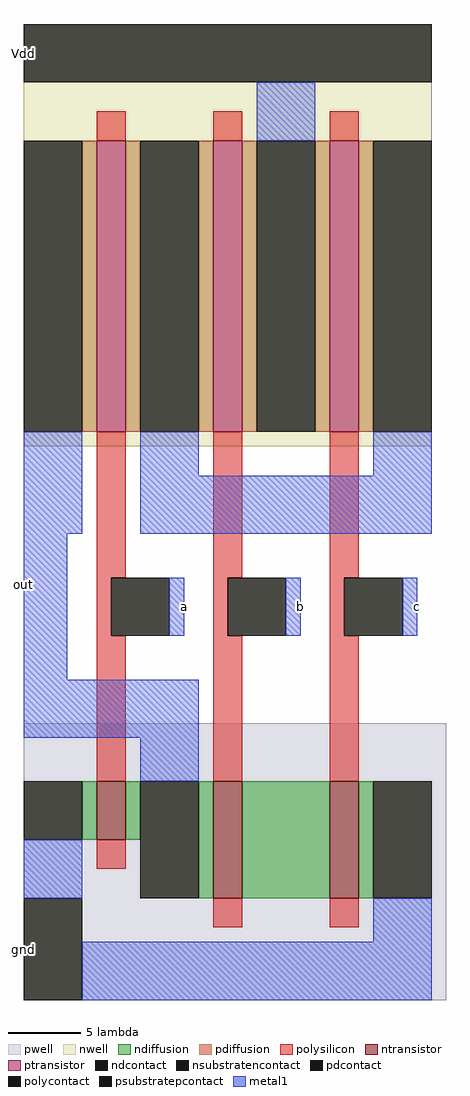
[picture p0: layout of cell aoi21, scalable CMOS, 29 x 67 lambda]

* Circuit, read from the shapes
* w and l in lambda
.subckt aoi21 Vdd a b c gnd out
M1 out a gnd gnd nfet w=4 l=2
M2 n1 b out gnd nfet w=8 l=2
M3 gnd c n1 gnd nfet w=8 l=2
M4 n2 a out Vdd pfet w=20 l=2
M5 Vdd b n2 Vdd pfet w=20 l=2
M6 n2 c Vdd Vdd pfet w=20 l=2
.ends

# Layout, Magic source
magic
tech scmos
<< pwell >>
rect -11 -21 18 -2
<< nwell >>
rect -11 17 17 46
<< polysilicon >>
rect -6 38 -4 40
rect 2 38 4 40
rect 10 38 12 40
rect -6 8 -4 18
rect 2 8 4 18
rect 10 8 12 18
rect -6 4 -5 8
rect 2 4 3 8
rect 10 4 11 8
rect -6 -6 -4 4
rect 2 -6 4 4
rect 10 -6 12 4
rect -6 -12 -4 -10
rect 2 -16 4 -14
rect 10 -16 12 -14
<< ndiffusion >>
rect -7 -10 -6 -6
rect -4 -10 -3 -6
rect 1 -14 2 -6
rect 4 -14 10 -6
rect 12 -14 13 -6
<< pdiffusion >>
rect -7 18 -6 38
rect -4 18 -3 38
rect 1 18 2 38
rect 4 18 5 38
rect 9 18 10 38
rect 12 18 13 38
<< metal1 >>
rect 5 38 9 42
rect -11 11 -7 18
rect -3 15 1 18
rect 13 15 17 18
rect -3 11 17 15
rect -11 1 -8 11
rect -1 4 0 8
rect 7 4 8 8
rect 15 4 16 8
rect -11 -3 1 1
rect -3 -6 1 -3
rect -11 -14 -7 -10
rect 13 -17 17 -14
rect -7 -21 17 -17
<< ntransistor >>
rect -6 -10 -4 -6
rect 2 -14 4 -6
rect 10 -14 12 -6
<< ptransistor >>
rect -6 18 -4 38
rect 2 18 4 38
rect 10 18 12 38
<< polycontact >>
rect -5 4 -1 8
rect 3 4 7 8
rect 11 4 15 8
<< ndcontact >>
rect -11 -10 -7 -6
rect -3 -14 1 -6
rect 13 -14 17 -6
<< pdcontact >>
rect -11 18 -7 38
rect -3 18 1 38
rect 5 18 9 38
rect 13 18 17 38
<< psubstratepcontact >>
rect -11 -21 -7 -14
<< nsubstratencontact >>
rect -11 42 17 46
<< labels >>
rlabel metal1 0 4 0 8 1 a
rlabel metal1 8 4 8 8 1 b
rlabel metal1 -11 -3 -11 18 3 out
rlabel psubstratepcontact -11 -21 -11 -14 2 gnd
rlabel metal1 16 4 16 8 7 c
rlabel nsubstratencontact -11 42 -11 46 4 Vdd
<< end >>
